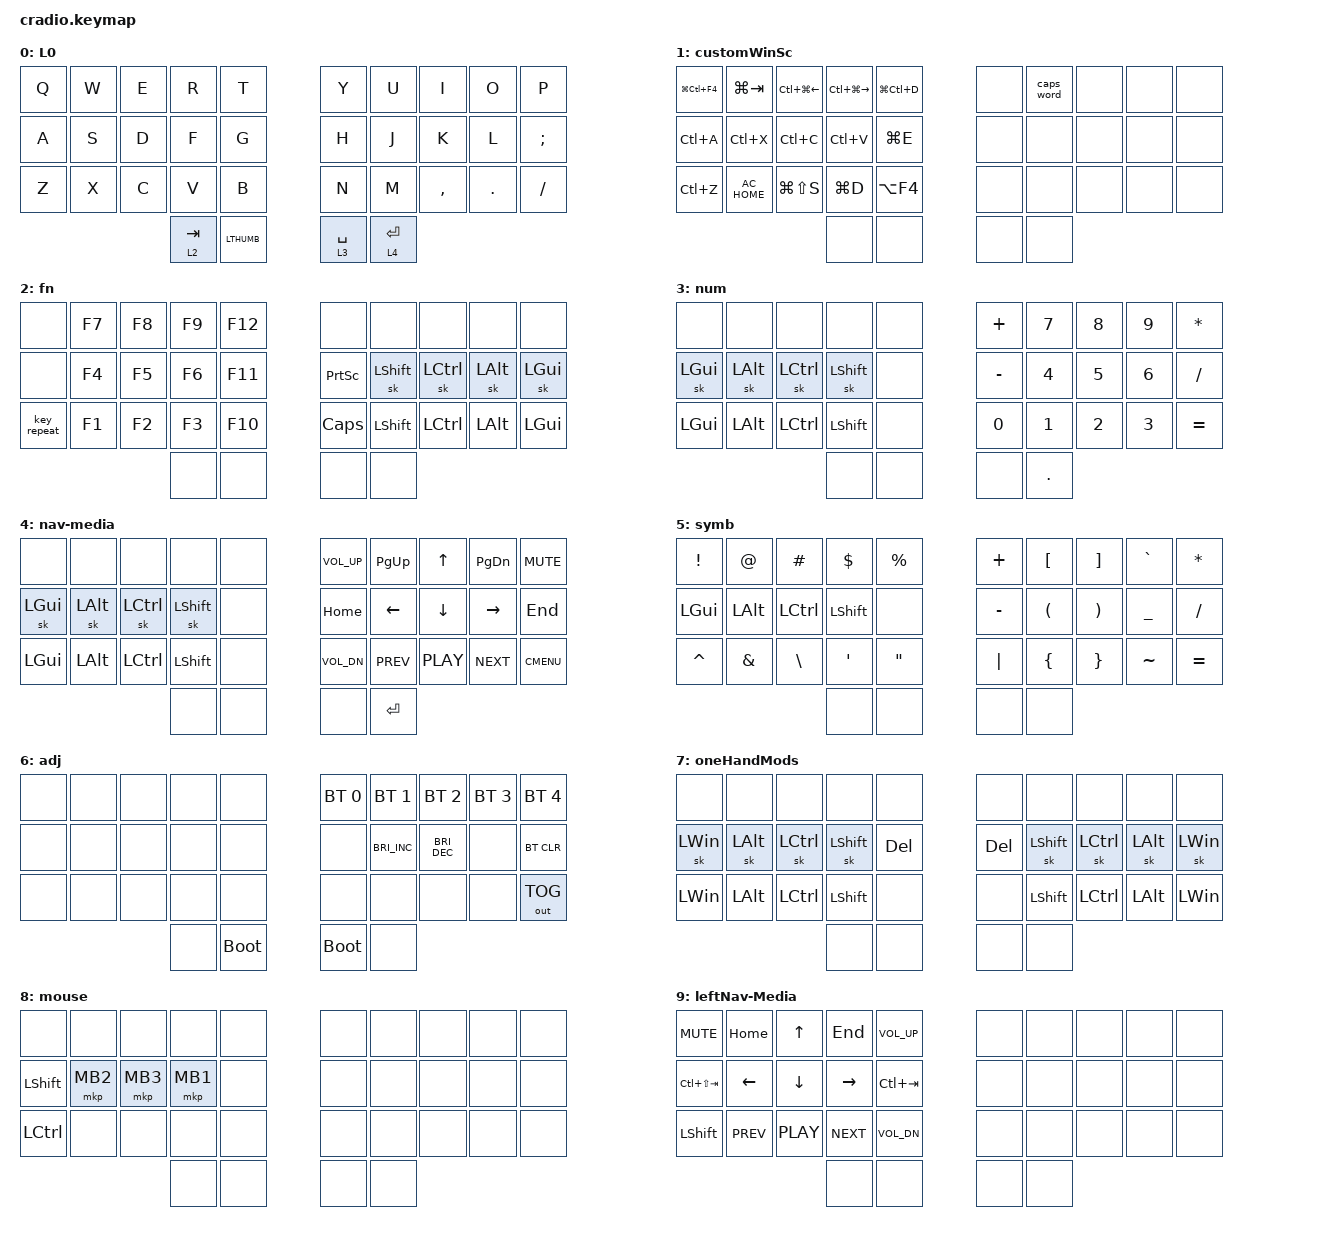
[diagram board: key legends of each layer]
#define ZMK_POINTING_DEFAULT_MOVE_VAL 1500  // default: 600
#define ZMK_POINTING_DEFAULT_SCRL_VAL 20    // default: 10

#include <behaviors.dtsi>
#include <dt-bindings/zmk/bt.h>
#include <dt-bindings/zmk/keys.h>
#include <dt-bindings/zmk/outputs.h>
#include <dt-bindings/zmk/pointing.h>

&sk {
    quick-release;
    lazy;
    release-after-ms = <800>;
};

&lt {
    flavor = "balanced";
    require-prior-idle-ms = <40>;
};

/ {
    behaviors {
        hmr: hmr {
            compatible = "zmk,behavior-hold-tap";
            #binding-cells = <2>;
            label = "hmr";
            bindings = <&kp>, <&kp>;

            tapping-term-ms = <280>;
            hold-trigger-on-release;             // delay positional check until key-release
            flavor = "balanced";
            require-prior-idle-ms = <200>;
            require-prior-idle-ms = <150>;
            quick-tap-ms = <175>;
            hold-trigger-key-positions = <0 1 2 3 4 10 11 12 13 14 20 21 22 23 24 30 31 32 33>;
        };

        hml: hml {
            compatible = "zmk,behavior-hold-tap";
            #binding-cells = <2>;
            label = "hml";
            bindings = <&kp>, <&kp>;

            tapping-term-ms = <280>;
            hold-trigger-on-release;
            flavor = "balanced";
            require-prior-idle-ms = <200>;
            quick-tap-ms = <175>;
            hold-trigger-key-positions = <5 6 7 8 9 15 16 17 18 19 25 26 27 28 29 32 33 30 31>;
        };

        tapSk_holdLayer: tapSk_holdLayer {
            compatible = "zmk,behavior-hold-tap";
            label = "TAPSK_HOLDLAYER";
            bindings = <&mo>, <&sk>;

            #binding-cells = <2>;
            tapping-term-ms = <80>;
            flavor = "tap-preferred";
            hold-while-undecided;
        };

        LTHUMB: LTHUMB {
            compatible = "zmk,behavior-tap-dance";
            label = "LTHUMB";
            #binding-cells = <0>;
            bindings = <&tapSk_holdLayer 1 LEFT_SHIFT>, <&kp LEFT_WIN>;

            tapping-term-ms = <380>;
        };
    };

    combos {
        compatible = "zmk,combos";

        capWords {
            bindings = <&caps_word>;
            key-positions = <13 16>;
            timeout-ms = <150>;
            require-prior-idle-ms = <100>;
        };

        toSymb {
            bindings = <&mo 5>;
            key-positions = <31 32>;
            timeout-ms = <150>;
            require-prior-idle-ms = <100>;
            slow-release;
        };

        escL {
            timeout-ms = <40>;
            bindings = <&kp ESCAPE>;
            key-positions = <3 2>;
            require-prior-idle-ms = <100>;
        };

        aphostrope {
            timeout-ms = <35>;
            bindings = <&kp SQT>;
            key-positions = <8 7>;
        };

        backR {
            bindings = <&kp BACKSPACE>;
            key-positions = <16 17>;
            timeout-ms = <40>;
            require-prior-idle-ms = <100>;
        };

        backL {
            bindings = <&kp BACKSPACE>;
            key-positions = <12 13>;
            timeout-ms = <40>;
            require-prior-idle-ms = <100>;
        };

        questionR {
            bindings = <&kp QUESTION>;
            key-positions = <27 28>;
            timeout-ms = <70>;
            require-prior-idle-ms = <40>;
        };

        wordDel {
            bindings = <&kp LC(BACKSPACE)>;
            key-positions = <12 11>;
            timeout-ms = <40>;
            require-prior-idle-ms = <100>;
        };

        delR {
            bindings = <&kp DELETE>;
            key-positions = <26 27>;
            timeout-ms = <40>;
            require-prior-idle-ms = <100>;
        };

        wordDelR {
            bindings = <&kp LC(BACKSPACE)>;
            key-positions = <17 18>;
            timeout-ms = <40>;
            require-prior-idle-ms = <100>;
        };

        delL {
            bindings = <&kp DELETE>;
            key-positions = <22 23>;
            timeout-ms = <40>;
            require-prior-idle-ms = <100>;
        };

        enterL {
            bindings = <&kp ENTER>;
            key-positions = <21 22>;
            timeout-ms = <40>;
            require-prior-idle-ms = <100>;
        };

        moMouse {
            bindings = <&mo 8>;
            key-positions = <11 12 13 31>;
            timeout-ms = <150>;
            slow-release;
            require-prior-idle-ms = <100>;
        };

        toAdj {
            bindings = <&mo 6>;
            key-positions = <0 4>;
            timeout-ms = <150>;
            slow-release;
            require-prior-idle-ms = <100>;
        };

        toLeftMedia-Nav {
            bindings = <&mo 9>;
            key-positions = <31 1 2 3>;
            timeout-ms = <150>;
            slow-release;
            require-prior-idle-ms = <100>;
        };

        escR {
            bindings = <&kp ESCAPE>;
            key-positions = <6 7>;
            timeout-ms = <40>;
            require-prior-idle-ms = <60>;
        };

        alt {
            bindings = <&kp LEFT_ALT>;
            key-positions = <21 22 23>;
            timeout-ms = <40>;
            slow-release;
            require-prior-idle-ms = <100>;
        };

        modR {
            bindings = <&mo 7>;
            key-positions = <16 17 18>;
            timeout-ms = <40>;
            slow-release;
            require-prior-idle-ms = <100>;
        };

        modL {
            bindings = <&mo 7>;
            key-positions = <13 12 11>;
            timeout-ms = <40>;
            slow-release;
            require-prior-idle-ms = <100>;
        };
    };

    keymap {
        compatible = "zmk,keymap";

        L0 {
            bindings = <
&kp Q  &kp W  &kp E  &kp R      &kp T      &kp Y        &kp U        &kp I      &kp O    &kp P
&kp A  &kp S  &kp D  &kp F      &kp G      &kp H        &kp J        &kp K      &kp L    &kp SEMI
&kp Z  &kp X  &kp C  &kp V      &kp B      &kp N        &kp M        &kp COMMA  &kp DOT  &kp FSLH
                     &lt 2 TAB  &LTHUMB    &lt 3 SPACE  &lt 4 ENTER
            >;
        };

        customWinSc {
            bindings = <
&kp LG(LC(F4))  &kp LG(TAB)    &kp LC(LG(LEFT_ARROW))  &kp LC(LG(RIGHT))  &kp LG(LC(D))    &none  &caps_word  &none  &none  &none
&kp LC(A)       &kp LC(X)      &kp LC(C)               &kp LC(V)          &kp LG(E)        &none  &none       &none  &none  &none
&kp LC(Z)       &kp C_AC_HOME  &kp LG(LS(S))           &kp LG(D)          &kp LA(F4)       &none  &none       &none  &none  &none
                                                       &none              &none            &none  &none
            >;
        };

        fn {
            bindings = <
&none        &kp F7  &kp F8  &kp F9  &kp F12    &none            &none           &none      &none     &none
&none        &kp F4  &kp F5  &kp F6  &kp F11    &kp PRINTSCREEN  &sk LEFT_SHIFT  &sk LCTRL  &sk LALT  &sk LEFT_GUI
&key_repeat  &kp F1  &kp F2  &kp F3  &kp F10    &kp CAPS         &kp LEFT_SHIFT  &kp LCTRL  &kp LALT  &kp LEFT_GUI
                             &none   &none      &none            &none
            >;
        };

        num {
            bindings = <
&none         &none     &none      &none           &none    &kp PLUS   &kp N7   &kp N8  &kp N9  &kp ASTERISK
&sk LEFT_GUI  &sk LALT  &sk LCTRL  &sk LSHFT       &none    &kp MINUS  &kp N4   &kp N5  &kp N6  &kp SLASH
&kp LEFT_GUI  &kp LALT  &kp LCTRL  &kp LEFT_SHIFT  &none    &kp N0     &kp N1   &kp N2  &kp N3  &kp EQUAL
                                   &none           &none    &none      &kp DOT
            >;
        };

        nav-media {
            bindings = <
&none         &none     &none      &none           &none    &kp C_VOL_UP  &kp PG_UP   &kp UP      &kp PG_DN   &kp C_MUTE
&sk LEFT_GUI  &sk LALT  &sk LCTRL  &sk LSHFT       &none    &kp HOME      &kp LEFT    &kp DOWN    &kp RIGHT   &kp END
&kp LEFT_GUI  &kp LALT  &kp LCTRL  &kp LEFT_SHIFT  &none    &kp C_VOL_DN  &kp C_PREV  &kp C_PLAY  &kp C_NEXT  &kp K_CMENU
                                   &none           &none    &none         &kp ENTER
            >;
        };

        symb {
            bindings = <
&kp EXCL      &kp AT    &kp HASH       &kp DLLR          &kp PERCENT          &kp PLUS   &kp LEFT_BRACKET      &kp RIGHT_BRACKET      &kp GRAVE  &kp STAR
&kp LEFT_GUI  &kp LALT  &kp LCTRL      &kp LEFT_SHIFT    &none                &kp MINUS  &kp LEFT_PARENTHESIS  &kp RIGHT_PARENTHESIS  &kp UNDER  &kp SLASH
&kp CARET     &kp AMPS  &kp BACKSLASH  &kp SINGLE_QUOTE  &kp DOUBLE_QUOTES    &kp PIPE   &kp LEFT_BRACE        &kp RIGHT_BRACE        &kp TILDE  &kp EQUAL
                                       &none             &none                &none      &none
            >;
        };

        adj {
            bindings = <
&none  &none  &none  &none  &none          &bt BT_SEL 0  &bt BT_SEL 1   &bt BT_SEL 2          &bt BT_SEL 3  &bt BT_SEL 4
&none  &none  &none  &none  &none          &none         &kp C_BRI_INC  &kp C_BRIGHTNESS_DEC  &none         &bt BT_CLR
&none  &none  &none  &none  &none          &none         &none          &none                 &none         &out OUT_TOG
                     &none  &bootloader    &bootloader   &none
            >;
        };

        oneHandMods {
            bindings = <
&none   &none   &none  &none   &none    &none  &none   &none  &none   &none
&sk LEFT_WIN  &sk LALT  &sk LCTRL     &sk LSHFT  &kp DEL      &kp DEL       &sk LSHFT  &sk LCTRL     &sk LALT  &sk LEFT_WIN
&kp LEFT_WIN  &kp LALT  &kp LCTRL     &kp LSHFT  &none        &none         &kp LSHFT  &kp LCTRL     &kp LALT  &kp LEFT_WIN
                                      &none      &none        &none         &none
            >;
        };

        mouse {
            bindings = <
&none             &none     &none     &none     &none    &none  &none  &none  &none  &none
&kp LEFT_SHIFT    &mkp MB2  &mkp MB3  &mkp MB1  &none    &none  &none  &none  &none  &none
&kp LEFT_CONTROL  &none     &none     &none     &none    &none  &none  &none  &none  &none
                                      &none     &none    &none  &none
            >;
        };

        leftNav-Media {
            bindings = <
&kp C_MUTE       &kp HOME    &kp UP      &kp END     &kp C_VOLUME_UP    &none  &none  &none  &none  &none
&kp LC(LS(TAB))  &kp LEFT    &kp DOWN    &kp RIGHT   &kp LC(TAB)        &none  &none  &none  &none  &none
&kp LEFT_SHIFT   &kp C_PREV  &kp C_PLAY  &kp C_NEXT  &kp C_VOL_DN       &none  &none  &none  &none  &none
                                         &none       &none              &none  &none
            >;
        };
    };
};
